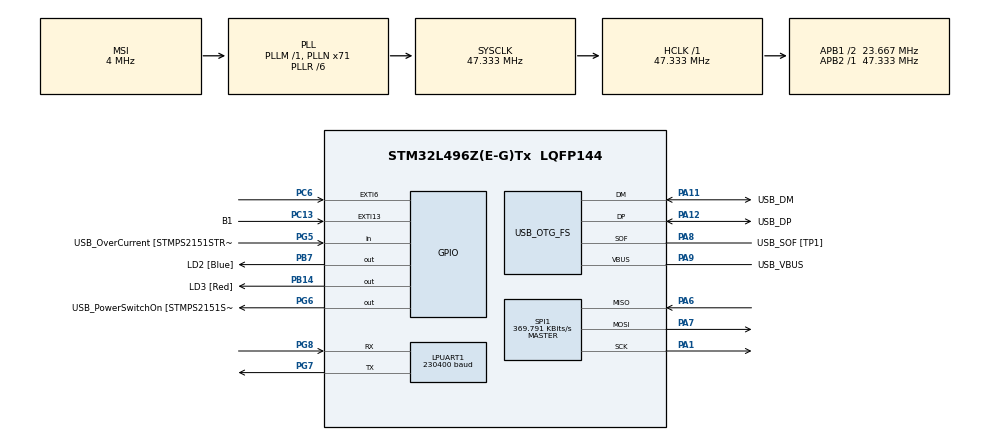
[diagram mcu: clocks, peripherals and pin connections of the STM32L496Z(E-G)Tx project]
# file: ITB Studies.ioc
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FREERTOS.Tasks01=comsTask,48,320,StartComsTask,Default,NULL,Dynamic,NULL,NULL;sensorRead,40,128,StartSensorRead,Default,NULL,Dynamic,NULL,NULL;controlTask,24,192,StartControlTask,Default,NULL,Dynamic,NULL,NULL
LPUART1.BaudRate=230400
LPUART1.Parity=UART_PARITY_EVEN
LPUART1.WordLength=UART_WORDLENGTH_9B
Mcu.Family=STM32L4
Mcu.Name=STM32L496Z(E-G)Tx
Mcu.Package=LQFP144
NVIC.EXTI15_10_IRQn=true\:5\:0\:false\:false\:true\:true\:true\:true\:true
NVIC.EXTI9_5_IRQn=true\:5\:0\:false\:false\:true\:true\:true\:true\:true
NVIC.LPUART1_IRQn=true\:5\:0\:false\:false\:true\:true\:true\:true\:true
NVIC.PriorityGroup=NVIC_PRIORITYGROUP_4
NVIC.TIM6_DAC_IRQn=true\:15\:0\:false\:false\:true\:false\:false\:true\:true
NVIC.TimeBase=TIM6_DAC_IRQn
NVIC.TimeBaseIP=TIM6
PA1.Mode=Full_Duplex_Master
PA1.Signal=SPI1_SCK
PA10.GPIO_Label=USB_ID
PA10.Signal=USB_OTG_FS_ID
PA11.GPIO_Label=USB_DM
PA11.Mode=Device_Only
PA11.Signal=USB_OTG_FS_DM
PA12.GPIO_Label=USB_DP
PA12.Mode=Device_Only
PA12.Signal=USB_OTG_FS_DP
PA13\ (JTMS/SWDIO).GPIO_Label=TMS
PA13\ (JTMS/SWDIO).Mode=Trace_Asynchronous_SW
PA13\ (JTMS/SWDIO).Signal=SYS_JTMS-SWDIO
PA14\ (JTCK/SWCLK).GPIO_Label=TCK
PA14\ (JTCK/SWCLK).Mode=Trace_Asynchronous_SW
PA14\ (JTCK/SWCLK).Signal=SYS_JTCK-SWCLK
PA6.Mode=Full_Duplex_Master
PA6.Signal=SPI1_MISO
PA7.Mode=Full_Duplex_Master
PA7.Signal=SPI1_MOSI
PA8.GPIO_Label=USB_SOF [TP1]
PA8.Mode=Activate_SOF_FS
PA8.Signal=USB_OTG_FS_SOF
PA9.GPIO_Label=USB_VBUS
PA9.Mode=Activate_VBUS
PA9.Signal=USB_OTG_FS_VBUS
PB14.GPIO_Label=LD3 [Red]
PB14.Signal=GPIO_Output
PB3\ (JTDO/TRACESWO).GPIO_Label=SWO
PB3\ (JTDO/TRACESWO).Mode=Trace_Asynchronous_SW
PB3\ (JTDO/TRACESWO).Signal=SYS_JTDO-SWO
PB7.GPIO_Label=LD2 [Blue]
PB7.Signal=GPIO_Output
PC13.GPIO_Label=B1
PC13.Signal=GPXTI13
PC14-OSC32_IN\ (PC14).Mode=LSE-External-Oscillator
PC14-OSC32_IN\ (PC14).Signal=RCC_OSC32_IN
PC15-OSC32_OUT\ (PC15).Mode=LSE-External-Oscillator
PC15-OSC32_OUT\ (PC15).Signal=RCC_OSC32_OUT
PC6.GPIO_ModeDefaultEXTI=GPIO_MODE_IT_RISING_FALLING
PC6.Signal=GPXTI6
PG5.GPIO_Label=USB_OverCurrent [STMPS2151STR_FAULT]
PG5.Signal=GPIO_Input
PG6.GPIO_Label=USB_PowerSwitchOn [STMPS2151STR_EN]
PG6.Signal=GPIO_Output
PG7.GPIO_Mode=GPIO_MODE_AF_PP
PG7.GPIO_PuPd=GPIO_NOPULL
PG7.GPIO_Speed=GPIO_SPEED_FREQ_VERY_HIGH
PG7.Mode=Asynchronous
PG7.Signal=LPUART1_TX
PG8.GPIO_Mode=GPIO_MODE_AF_PP
PG8.GPIO_PuPd=GPIO_NOPULL
PG8.GPIO_Speed=GPIO_SPEED_FREQ_VERY_HIGH
PG8.Mode=Asynchronous
PG8.Signal=LPUART1_RX
PH1-OSC_OUT\ (PH1).Signal=RCC_OSC_OUT
ProjectManager.HeapSize=0x200
ProjectManager.StackSize=0x400
ProjectManager.TargetToolchain=Makefile
RCC.48MHZClocksFreq_Value=24000000
RCC.ADCFreq_Value=48000000
RCC.AHBFreq_Value=47333333.333333336
RCC.APB1CLKDivider=RCC_HCLK_DIV2
RCC.APB1Freq_Value=23666666.666666668
RCC.APB1TimFreq_Value=47333333.333333336
RCC.APB2Freq_Value=47333333.333333336
RCC.APB2TimFreq_Value=47333333.333333336
RCC.CortexFreq_Value=47333333.333333336
RCC.HCLKFreq_Value=47333333.333333336
RCC.HSE_VALUE=8000000
RCC.HSI48_VALUE=48000000
RCC.HSI_VALUE=16000000
RCC.MSI_VALUE=4000000
RCC.PLLMUL=RCC_PLL_MUL9
RCC.PLLN=71
RCC.PLLR=RCC_PLLR_DIV6
RCC.PLLSAI1N=24
RCC.PRESCALERUSB=RCC_USBCLKSOURCE_PLL_DIV1_5
RCC.SYSCLKFreq_VALUE=47333333.333333336
RCC.SYSCLKSource=RCC_SYSCLKSOURCE_PLLCLK
RCC.SYSCLKSourceVirtual=RCC_SYSCLKSOURCE_PLLCLK
RCC.USBFreq_Value=48000000
RCC.VCOOutputFreq_Value=284000000
SPI1.BaudRatePrescaler=SPI_BAUDRATEPRESCALER_128
SPI1.CalculateBaudRate=369.791 KBits/s
SPI1.DataSize=SPI_DATASIZE_8BIT
SPI1.Direction=SPI_DIRECTION_2LINES
SPI1.Mode=SPI_MODE_MASTER
SPI1.VirtualType=VM_MASTER
USB_OTG_FS.VirtualMode=Device_Only
VP_FREERTOS_VS_CMSIS_V2.Mode=CMSIS_V2
VP_RTC_VS_RTC_Activate.Mode=RTC_Enabled
VP_SYS_VS_tim6.Mode=TIM6
board=NUCLEO-L496ZG

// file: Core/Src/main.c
/* USER CODE BEGIN Header */
/**
  ******************************************************************************
  * @file           : main.c
  * @brief          : Main program body
  ******************************************************************************
  * @attention
  *
  * Copyright (c) 2023 STMicroelectronics.
  * All rights reserved.
  *
  * This software is licensed under terms that can be found in the LICENSE file
  * in the root directory of this software component.
  * If no LICENSE file comes with this software, it is provided AS-IS.
  *
  ******************************************************************************
  */
/* USER CODE END Header */
#include "main.h"
#include "cmsis_os.h"

/* USER CODE BEGIN Includes */
#include <string.h>
#include "cli_interface.h"
#include "printf.h"
#include "ftoa.h"
#include "errors.h"
#include "component_config.h"
#include "pressure_sensor.h"
/* USER CODE END Includes */

UART_HandleTypeDef hlpuart1;

RTC_HandleTypeDef hrtc;

SPI_HandleTypeDef hspi1;

PCD_HandleTypeDef hpcd_USB_OTG_FS;

/* Definitions for comsTask */
osThreadId_t comsTaskHandle;
const osThreadAttr_t comsTask_attributes = {
  .name = "comsTask",
  .stack_size = 320 * 4,
  .priority = (osPriority_t) osPriorityRealtime,
};
/* Definitions for sensorRead */
osThreadId_t sensorReadHandle;
const osThreadAttr_t sensorRead_attributes = {
  .name = "sensorRead",
  .stack_size = 128 * 4,
  .priority = (osPriority_t) osPriorityHigh,
};
/* Definitions for controlTask */
osThreadId_t controlTaskHandle;
const osThreadAttr_t controlTask_attributes = {
  .name = "controlTask",
  .stack_size = 192 * 4,
  .priority = (osPriority_t) osPriorityNormal,
};

void SystemClock_Config(void);
static void MX_GPIO_Init(void);
static void MX_LPUART1_UART_Init(void);
static void MX_USB_OTG_FS_PCD_Init(void);
static void MX_SPI1_Init(void);
static void MX_RTC_Init(void);
void StartComsTask(void *argument);
void StartSensorRead(void *argument);
void StartControlTask(void *argument);

int main(void)
{

  /* MCU Configuration--------------------------------------------------------*/

  /* Reset of all peripherals, Initializes the Flash interface and the Systick. */
  HAL_Init();

  /* Configure the system clock */
  SystemClock_Config();

  /* Initialize all configured peripherals */
  MX_GPIO_Init();
  MX_LPUART1_UART_Init();
  MX_USB_OTG_FS_PCD_Init();
  MX_SPI1_Init();
  MX_RTC_Init();

  /* Init scheduler */
  osKernelInitialize();

  /* Create the thread(s) */
  /* creation of comsTask */
  comsTaskHandle = osThreadNew(StartComsTask, NULL, &comsTask_attributes);

  /* creation of sensorRead */
  sensorReadHandle = osThreadNew(StartSensorRead, NULL, &sensorRead_attributes);

  /* creation of controlTask */
  controlTaskHandle = osThreadNew(StartControlTask, NULL, &controlTask_attributes);

  /* Start scheduler */
  osKernelStart();
  /* We should never get here as control is now taken by the scheduler */
  /* Infinite loop */
  while (1)
  {

  }
}

void SystemClock_Config(void)
{
  RCC_OscInitTypeDef RCC_OscInitStruct = {0};
  RCC_ClkInitTypeDef RCC_ClkInitStruct = {0};

  /** Configure the main internal regulator output voltage
  */
  if (HAL_PWREx_ControlVoltageScaling(PWR_REGULATOR_VOLTAGE_SCALE1) != HAL_OK)
  {
    Error_Handler();
  }

  /** Configure LSE Drive Capability
  */
  HAL_PWR_EnableBkUpAccess();
  __HAL_RCC_LSEDRIVE_CONFIG(RCC_LSEDRIVE_LOW);

  /** Initializes the RCC Oscillators according to the specified parameters
  * in the RCC_OscInitTypeDef structure.
  */
  RCC_OscInitStruct.OscillatorType = RCC_OSCILLATORTYPE_LSI|RCC_OSCILLATORTYPE_LSE
                              |RCC_OSCILLATORTYPE_MSI;
  RCC_OscInitStruct.LSEState = RCC_LSE_ON;
  RCC_OscInitStruct.LSIState = RCC_LSI_ON;
  RCC_OscInitStruct.MSIState = RCC_MSI_ON;
  RCC_OscInitStruct.MSICalibrationValue = 0;
  RCC_OscInitStruct.MSIClockRange = RCC_MSIRANGE_6;
  RCC_OscInitStruct.PLL.PLLState = RCC_PLL_ON;
  RCC_OscInitStruct.PLL.PLLSource = RCC_PLLSOURCE_MSI;
  RCC_OscInitStruct.PLL.PLLM = 1;
  RCC_OscInitStruct.PLL.PLLN = 71;
  RCC_OscInitStruct.PLL.PLLP = RCC_PLLP_DIV2;
  RCC_OscInitStruct.PLL.PLLQ = RCC_PLLQ_DIV2;
  RCC_OscInitStruct.PLL.PLLR = RCC_PLLR_DIV6;
  if (HAL_RCC_OscConfig(&RCC_OscInitStruct) != HAL_OK)
  {
    Error_Handler();
  }

  /** Initializes the CPU, AHB and APB buses clocks
  */
  RCC_ClkInitStruct.ClockType = RCC_CLOCKTYPE_HCLK|RCC_CLOCKTYPE_SYSCLK
                              |RCC_CLOCKTYPE_PCLK1|RCC_CLOCKTYPE_PCLK2;
  RCC_ClkInitStruct.SYSCLKSource = RCC_SYSCLKSOURCE_PLLCLK;
  RCC_ClkInitStruct.AHBCLKDivider = RCC_SYSCLK_DIV1;
  RCC_ClkInitStruct.APB1CLKDivider = RCC_HCLK_DIV2;
  RCC_ClkInitStruct.APB2CLKDivider = RCC_HCLK_DIV1;

  if (HAL_RCC_ClockConfig(&RCC_ClkInitStruct, FLASH_LATENCY_2) != HAL_OK)
  {
    Error_Handler();
  }

  /** Enable MSI Auto calibration
  */
  HAL_RCCEx_EnableMSIPLLMode();
}

static void MX_LPUART1_UART_Init(void)
{

  hlpuart1.Instance = LPUART1;
  hlpuart1.Init.BaudRate = 230400;
  hlpuart1.Init.WordLength = UART_WORDLENGTH_9B;
  hlpuart1.Init.StopBits = UART_STOPBITS_1;
  hlpuart1.Init.Parity = UART_PARITY_EVEN;
  hlpuart1.Init.Mode = UART_MODE_TX_RX;
  hlpuart1.Init.HwFlowCtl = UART_HWCONTROL_NONE;
  hlpuart1.Init.OneBitSampling = UART_ONE_BIT_SAMPLE_DISABLE;
  hlpuart1.AdvancedInit.AdvFeatureInit = UART_ADVFEATURE_NO_INIT;
  if (HAL_UART_Init(&hlpuart1) != HAL_OK)
  {
    Error_Handler();
  }

}

static void MX_RTC_Init(void)
{

  /** Initialize RTC Only
  */
  hrtc.Instance = RTC;
  hrtc.Init.HourFormat = RTC_HOURFORMAT_24;
  hrtc.Init.AsynchPrediv = 127;
  hrtc.Init.SynchPrediv = 255;
  hrtc.Init.OutPut = RTC_OUTPUT_DISABLE;
  hrtc.Init.OutPutRemap = RTC_OUTPUT_REMAP_NONE;
  hrtc.Init.OutPutPolarity = RTC_OUTPUT_POLARITY_HIGH;
  hrtc.Init.OutPutType = RTC_OUTPUT_TYPE_OPENDRAIN;
  if (HAL_RTC_Init(&hrtc) != HAL_OK)
  {
    Error_Handler();
  }

}

static void MX_SPI1_Init(void)
{

  /* SPI1 parameter configuration*/
  hspi1.Instance = SPI1;
  hspi1.Init.Mode = SPI_MODE_MASTER;
  hspi1.Init.Direction = SPI_DIRECTION_2LINES;
  hspi1.Init.DataSize = SPI_DATASIZE_8BIT;
  hspi1.Init.CLKPolarity = SPI_POLARITY_LOW;
  hspi1.Init.CLKPhase = SPI_PHASE_1EDGE;
  hspi1.Init.NSS = SPI_NSS_SOFT;
  hspi1.Init.BaudRatePrescaler = SPI_BAUDRATEPRESCALER_128;
  hspi1.Init.FirstBit = SPI_FIRSTBIT_MSB;
  hspi1.Init.TIMode = SPI_TIMODE_DISABLE;
  hspi1.Init.CRCCalculation = SPI_CRCCALCULATION_DISABLE;
  hspi1.Init.CRCPolynomial = 7;
  hspi1.Init.CRCLength = SPI_CRC_LENGTH_DATASIZE;
  hspi1.Init.NSSPMode = SPI_NSS_PULSE_ENABLE;
  if (HAL_SPI_Init(&hspi1) != HAL_OK)
  {
    Error_Handler();
  }

}

static void MX_USB_OTG_FS_PCD_Init(void)
{

  hpcd_USB_OTG_FS.Instance = USB_OTG_FS;
  hpcd_USB_OTG_FS.Init.dev_endpoints = 6;
  hpcd_USB_OTG_FS.Init.speed = PCD_SPEED_FULL;
  hpcd_USB_OTG_FS.Init.phy_itface = PCD_PHY_EMBEDDED;
  hpcd_USB_OTG_FS.Init.Sof_enable = ENABLE;
  hpcd_USB_OTG_FS.Init.low_power_enable = DISABLE;
  hpcd_USB_OTG_FS.Init.lpm_enable = DISABLE;
  hpcd_USB_OTG_FS.Init.battery_charging_enable = ENABLE;
  hpcd_USB_OTG_FS.Init.use_dedicated_ep1 = DISABLE;
  hpcd_USB_OTG_FS.Init.vbus_sensing_enable = ENABLE;
  if (HAL_PCD_Init(&hpcd_USB_OTG_FS) != HAL_OK)
  {
    Error_Handler();
  }

}

static void MX_GPIO_Init(void)
{
  GPIO_InitTypeDef GPIO_InitStruct = {0};

  /* GPIO Ports Clock Enable */
  __HAL_RCC_GPIOC_CLK_ENABLE();
  __HAL_RCC_GPIOH_CLK_ENABLE();
  __HAL_RCC_GPIOA_CLK_ENABLE();
  __HAL_RCC_GPIOB_CLK_ENABLE();
  __HAL_RCC_GPIOG_CLK_ENABLE();
  HAL_PWREx_EnableVddIO2();

  /*Configure GPIO pin Output Level */
  HAL_GPIO_WritePin(GPIOB, LD3_Pin|LD2_Pin, GPIO_PIN_RESET);

  /*Configure GPIO pin Output Level */
  HAL_GPIO_WritePin(USB_PowerSwitchOn_GPIO_Port, USB_PowerSwitchOn_Pin, GPIO_PIN_RESET);

  /*Configure GPIO pin : B1_Pin */
  GPIO_InitStruct.Pin = B1_Pin;
  GPIO_InitStruct.Mode = GPIO_MODE_IT_RISING;
  GPIO_InitStruct.Pull = GPIO_NOPULL;
  HAL_GPIO_Init(B1_GPIO_Port, &GPIO_InitStruct);

  /*Configure GPIO pins : LD3_Pin LD2_Pin */
  GPIO_InitStruct.Pin = LD3_Pin|LD2_Pin;
  GPIO_InitStruct.Mode = GPIO_MODE_OUTPUT_PP;
  GPIO_InitStruct.Pull = GPIO_NOPULL;
  GPIO_InitStruct.Speed = GPIO_SPEED_FREQ_LOW;
  HAL_GPIO_Init(GPIOB, &GPIO_InitStruct);

  /*Configure GPIO pin : USB_OverCurrent_Pin */
  GPIO_InitStruct.Pin = USB_OverCurrent_Pin;
  GPIO_InitStruct.Mode = GPIO_MODE_INPUT;
  GPIO_InitStruct.Pull = GPIO_NOPULL;
  HAL_GPIO_Init(USB_OverCurrent_GPIO_Port, &GPIO_InitStruct);

  /*Configure GPIO pin : USB_PowerSwitchOn_Pin */
  GPIO_InitStruct.Pin = USB_PowerSwitchOn_Pin;
  GPIO_InitStruct.Mode = GPIO_MODE_OUTPUT_PP;
  GPIO_InitStruct.Pull = GPIO_NOPULL;
  GPIO_InitStruct.Speed = GPIO_SPEED_FREQ_LOW;
  HAL_GPIO_Init(USB_PowerSwitchOn_GPIO_Port, &GPIO_InitStruct);

  /*Configure GPIO pin : PC6 */
  GPIO_InitStruct.Pin = GPIO_PIN_6;
  GPIO_InitStruct.Mode = GPIO_MODE_IT_RISING_FALLING;
  GPIO_InitStruct.Pull = GPIO_NOPULL;
  HAL_GPIO_Init(GPIOC, &GPIO_InitStruct);

  /* EXTI interrupt init*/
  HAL_NVIC_SetPriority(EXTI9_5_IRQn, 5, 0);
  HAL_NVIC_EnableIRQ(EXTI9_5_IRQn);

  HAL_NVIC_SetPriority(EXTI15_10_IRQn, 5, 0);
  HAL_NVIC_EnableIRQ(EXTI15_10_IRQn);

}

void StartComsTask(void *argument)
{
  /* USER CODE BEGIN 5 */
  // Initialize CLI interface
  cli_init(&hlpuart1, &hrtc, &hspi1);
  /* Infinite loop */
  for(;;)
  {
    cli_send_readings();
    vTaskDelay(25 / portTICK_PERIOD_MS);
  }
  /* USER CODE END 5 */
}

void StartSensorRead(void *argument)
{
  /* USER CODE BEGIN StartSensorRead */
  /* Infinite loop */
  for(;;)
  {
    vTaskDelay(10 / portTICK_PERIOD_MS);
    if (!system_status) continue;

    Errors error = NO_ERROR;
    for(int i = 0; i < MAX_PRESSURE_SENSORS; i++) {
      error = pressure_sensor_read_data(i);
      if(error == DISABLED) continue;
      else if(error == OUT_OF_RANGE) break;
      else if(error != NO_ERROR) {
        global_error = error;
      }
    }
  }
  /* USER CODE END StartSensorRead */
}

void StartControlTask(void *argument)
{
  /* USER CODE BEGIN StartControlTask */
  /* Infinite loop */
  for(;;)
  {
    cli_handle_add_device();
    vTaskDelay(100 / portTICK_PERIOD_MS);
  }
  /* USER CODE END StartControlTask */
}

void HAL_TIM_PeriodElapsedCallback(TIM_HandleTypeDef *htim)
{
  if (htim->Instance == TIM6) {
    HAL_IncTick();
  }
}

void Error_Handler(void)
{
  __disable_irq();
  while (1)
  {
  }
}
